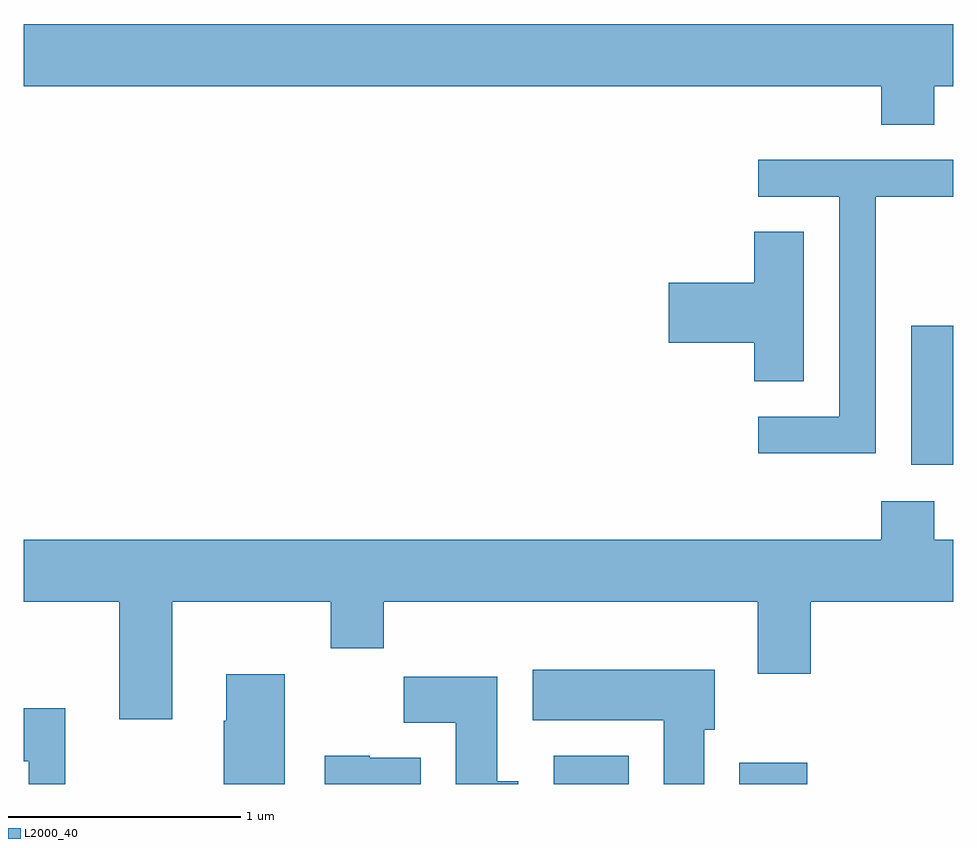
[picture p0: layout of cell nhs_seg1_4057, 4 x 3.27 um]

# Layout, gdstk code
import gdstk
lib = gdstk.Library(unit=1e-6, precision=1e-09)
def R(c, l, rs):  # rectangles x0, y0, x1, y1
    for r in rs: c.add(gdstk.rectangle(r[:2], r[2:], *l))
def P(c, l, *ps):  # polygons
    for p in ps: c.add(gdstk.Polygon(p, *l))
L2000_40 = (2000, 40)

nhs_seg1_4057 = lib.new_cell('nhs_seg1_4057')
R(nhs_seg1_4057, L2000_40, [(309.891,867.712,310.214,867.834), (310.691,867.712,310.984,867.804), (311.431,869.086,311.611,869.684)])
P(nhs_seg1_4057, L2000_40, [(311.529,870.716),(311.611,870.716),(311.611,870.984),(307.611,870.984),(307.611,870.716),(311.301,870.716),(311.301,870.551),(311.529,870.551)],
  [(311.279,870.241),(311.611,870.241),(311.611,870.399),(310.773,870.399),(310.773,870.241),(311.121,870.241),(311.121,869.294),(310.773,869.294),(310.773,869.136),(311.279,869.136)],
  [(310.969,870.089),(310.756,870.089),(310.756,869.869),(310.386,869.869),(310.386,869.611),(310.756,869.611),(310.756,869.446),(310.969,869.446)],
  [(308.249,868.496),(308.931,868.496),(308.931,868.296),(309.159,868.296),(309.159,868.496),(310.771,868.496),(310.771,868.186),(310.999,868.186),(310.999,868.496),(311.611,868.496),(311.611,868.764),(311.529,868.764),(311.529,868.929),(311.301,868.929),(311.301,868.764),(307.611,868.764),(307.611,868.496),(308.021,868.496),(308.021,867.991),(308.249,867.991)],
  [(310.539,867.946),(310.584,867.946),(310.584,868.204),(309.801,868.204),(309.801,867.986),(310.366,867.986),(310.366,867.712),(310.539,867.712)],
  [(308.734,868.184),(308.481,868.184),(308.481,867.985),(308.471,867.985),(308.471,867.712),(308.734,867.712)],
  [(309.739,867.724),(309.649,867.724),(309.649,868.174),(309.246,868.174),(309.246,867.976),(309.471,867.976),(309.471,867.712),(309.739,867.712)],
  [(307.789,868.039),(307.611,868.039),(307.611,867.811),(307.631,867.811),(307.631,867.712),(307.789,867.712)],
  [(309.319,867.824),(309.1,867.824),(309.1,867.834),(308.906,867.834),(308.906,867.712),(309.319,867.712)])

lib.write_gds('nhs_seg1_4057.gds')
